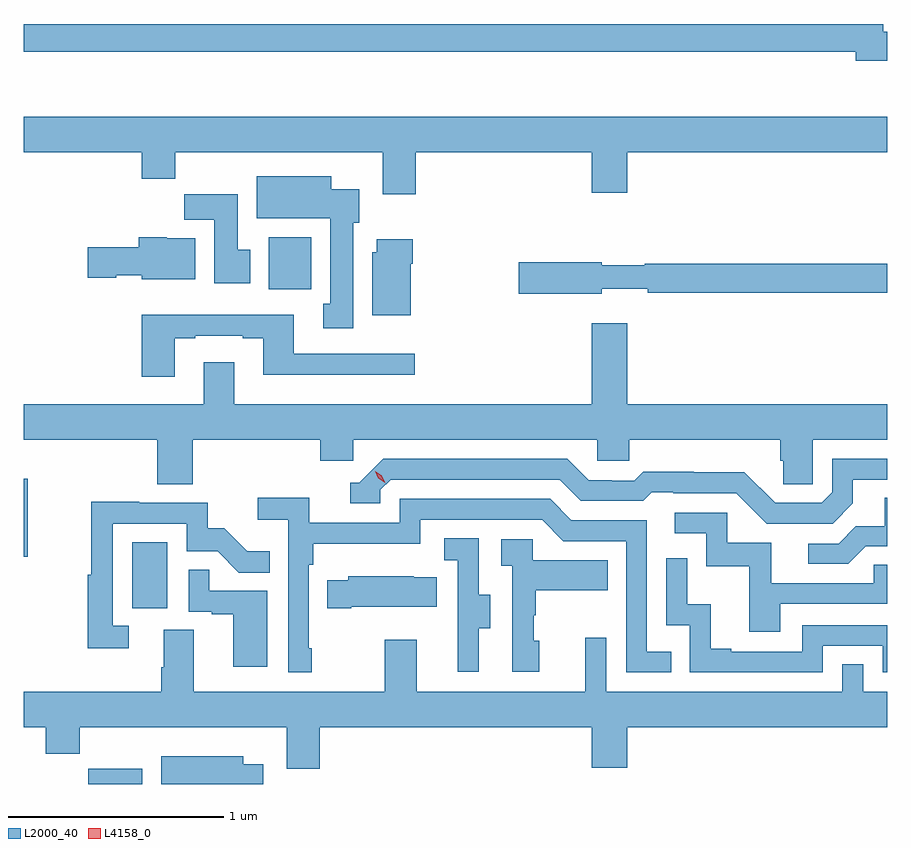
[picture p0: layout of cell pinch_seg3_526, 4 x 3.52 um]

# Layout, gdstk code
import gdstk
lib = gdstk.Library(unit=1e-6, precision=1e-09)
def R(c, l, rs):  # rectangles x0, y0, x1, y1
    for r in rs: c.add(gdstk.rectangle(r[:2], r[2:], *l))
def P(c, l, *ps):  # polygons
    for p in ps: c.add(gdstk.Polygon(p, *l))
L2000_40 = (2000, 40)
L4158_0 = (4158, 0)

pinch_seg3_526 = lib.new_cell('pinch_seg3_526')
R(pinch_seg3_526, L2000_40, [(1097.74,699.32,1097.989,699.39), (1097.942,700.134,1098.106,700.441), (1097.441,700.374,1097.458,700.735), (1098.575,701.612,1098.772,701.854)])
P(pinch_seg3_526, L2000_40, [(1101.441,702.806),(1101.424,702.806),(1101.424,702.842),(1097.441,702.842),(1097.441,702.714),(1101.296,702.714),(1101.296,702.671),(1101.441,702.671)],
  [(1099.256,702.248),(1100.072,702.248),(1100.072,702.06),(1100.236,702.06),(1100.236,702.248),(1101.441,702.248),(1101.441,702.412),(1097.441,702.412),(1097.441,702.248),(1097.987,702.248),(1097.987,702.124),(1098.143,702.124),(1098.143,702.248),(1099.103,702.248),(1099.103,702.054),(1099.256,702.054)],
  [(1098.967,701.922),(1098.994,701.922),(1098.994,702.076),(1098.865,702.076),(1098.865,702.136),(1098.521,702.136),(1098.521,701.942),(1098.86,701.942),(1098.86,701.546),(1098.827,701.546),(1098.827,701.433),(1098.967,701.433)],
  [(1098.49,701.796),(1098.433,701.796),(1098.433,702.054),(1098.184,702.054),(1098.184,701.936),(1098.323,701.936),(1098.323,701.64),(1098.49,701.64)],
  [(1098.235,701.848),(1098.102,701.848),(1098.102,701.854),(1097.972,701.854),(1097.972,701.808),(1097.736,701.808),(1097.736,701.666),(1097.868,701.666),(1097.868,701.678),(1097.988,701.678),(1097.988,701.66),(1098.235,701.66)],
  [(1099.234,701.732),(1099.242,701.732),(1099.242,701.845),(1099.076,701.845),(1099.076,701.784),(1099.055,701.784),(1099.055,701.492),(1099.234,701.492)],
  [(1100.118,701.615),(1100.332,701.615),(1100.332,701.596),(1101.441,701.596),(1101.441,701.732),(1100.318,701.732),(1100.318,701.725),(1100.118,701.725),(1100.118,701.738),(1099.734,701.738),(1099.734,701.591),(1100.118,701.591)],
  [(1098.139,701.385),(1098.235,701.385),(1098.235,701.397),(1098.455,701.397),(1098.455,701.385),(1098.551,701.385),(1098.551,701.216),(1099.252,701.216),(1099.252,701.313),(1098.691,701.313),(1098.691,701.494),(1097.987,701.494),(1097.987,701.208),(1098.139,701.208)],
  [(1098.224,700.916),(1098.815,700.916),(1098.815,700.818),(1098.966,700.818),(1098.966,700.916),(1100.097,700.916),(1100.097,700.818),(1100.247,700.818),(1100.247,700.916),(1100.945,700.916),(1100.945,700.818),(1100.959,700.818),(1100.959,700.708),(1101.096,700.708),(1101.096,700.916),(1101.441,700.916),(1101.441,701.08),(1100.236,701.08),(1100.236,701.455),(1100.072,701.455),(1100.072,701.08),(1098.415,701.08),(1098.415,701.275),(1098.275,701.275),(1098.275,701.08),(1097.441,701.08),(1097.441,700.916),(1098.059,700.916),(1098.059,700.708),(1098.224,700.708)],
  [(1101.283,700.621),(1101.283,700.731),(1101.441,700.731),(1101.441,700.827),(1101.186,700.827),(1101.186,700.671),(1101.138,700.623),(1100.922,700.623),(1100.78,700.765),(1100.544,700.765),(1100.544,700.768),(1100.311,700.768),(1100.269,700.725),(1100.166,700.725),(1100.166,700.728),(1100.059,700.728),(1099.96,700.827),(1099.107,700.827),(1098.996,700.716),(1098.953,700.716),(1098.953,700.62),(1099.092,700.62),(1099.092,700.683),(1099.14,700.731),(1099.923,700.731),(1100.022,700.632),(1100.311,700.632),(1100.35,700.671),(1100.449,700.671),(1100.449,700.668),(1100.742,700.668),(1100.883,700.527),(1101.189,700.527)],
  [(1101.343,700.422),(1101.441,700.422),(1101.441,700.646),(1101.431,700.646),(1101.431,700.514),(1101.296,700.514),(1101.216,700.434),(1101.075,700.434),(1101.075,700.341),(1101.262,700.341)],
  [(1098.775,699.949),(1098.762,699.949),(1098.762,700.337),(1098.782,700.337),(1098.782,700.433),(1099.278,700.433),(1099.278,700.545),(1099.842,700.545),(1099.941,700.446),(1100.232,700.446),(1100.232,699.837),(1100.441,699.837),(1100.441,699.933),(1100.328,699.933),(1100.328,700.542),(1099.978,700.542),(1099.879,700.641),(1099.182,700.641),(1099.182,700.53),(1098.764,700.53),(1098.764,700.646),(1098.525,700.646),(1098.525,700.544),(1098.666,700.544),(1098.666,699.837),(1098.775,699.837)],
  [(1097.926,700.053),(1097.853,700.053),(1097.853,700.527),(1098.195,700.527),(1098.195,700.398),(1098.339,700.398),(1098.437,700.3),(1098.581,700.3),(1098.581,700.399),(1098.477,700.399),(1098.37,700.506),(1098.294,700.506),(1098.294,700.623),(1097.975,700.623),(1097.975,700.628),(1097.752,700.628),(1097.752,700.29),(1097.737,700.29),(1097.737,699.948),(1097.926,699.948)],
  [(1100.947,700.155),(1101.441,700.155),(1101.441,700.335),(1101.379,700.335),(1101.379,700.251),(1100.905,700.251),(1100.905,700.437),(1100.7,700.437),(1100.7,700.578),(1100.457,700.578),(1100.457,700.482),(1100.604,700.482),(1100.604,700.329),(1100.803,700.329),(1100.803,700.026),(1100.947,700.026)],
  [(1099.549,700.042),(1099.603,700.042),(1099.603,700.197),(1099.548,700.197),(1099.548,700.46),(1099.389,700.46),(1099.389,700.357),(1099.452,700.357),(1099.452,700.053),(1099.451,700.053),(1099.451,699.84),(1099.549,699.84)],
  [(1099.828,699.984),(1099.803,699.984),(1099.803,700.103),(1099.813,700.103),(1099.813,700.217),(1100.147,700.217),(1100.147,700.357),(1099.8,700.357),(1099.8,700.455),(1099.653,700.455),(1099.653,700.331),(1099.704,700.331),(1099.704,699.84),(1099.828,699.84)],
  [(1101.144,699.96),(1101.42,699.96),(1101.42,699.837),(1101.441,699.837),(1101.441,700.056),(1101.048,700.056),(1101.048,699.933),(1100.719,699.933),(1100.719,699.946),(1100.624,699.946),(1100.624,700.154),(1100.514,700.154),(1100.514,700.366),(1100.418,700.366),(1100.418,700.056),(1100.526,700.056),(1100.526,699.837),(1101.144,699.837)],
  [(1098.568,700.215),(1098.299,700.215),(1098.299,700.313),(1098.204,700.313),(1098.204,700.119),(1098.311,700.119),(1098.311,700.107),(1098.41,700.107),(1098.41,699.864),(1098.568,699.864)],
  [(1098.958,700.142),(1099.355,700.142),(1099.355,700.279),(1099.247,700.279),(1099.247,700.282),(1098.945,700.282),(1098.945,700.264),(1098.847,700.264),(1098.847,700.135),(1098.958,700.135)],
  [(1098.812,699.584),(1100.072,699.584),(1100.072,699.396),(1100.236,699.396),(1100.236,699.584),(1101.441,699.584),(1101.441,699.748),(1101.33,699.748),(1101.33,699.875),(1101.234,699.875),(1101.234,699.748),(1100.139,699.748),(1100.139,699.997),(1100.042,699.997),(1100.042,699.748),(1099.261,699.748),(1099.261,699.988),(1099.114,699.988),(1099.114,699.748),(1098.229,699.748),(1098.229,700.034),(1098.089,700.034),(1098.089,699.86),(1098.077,699.86),(1098.077,699.748),(1097.441,699.748),(1097.441,699.584),(1097.543,699.584),(1097.543,699.46),(1097.699,699.46),(1097.699,699.584),(1098.659,699.584),(1098.659,699.39),(1098.812,699.39)],
  [(1098.55,699.412),(1098.457,699.412),(1098.457,699.448),(1098.077,699.448),(1098.077,699.32),(1098.55,699.32)])
P(pinch_seg3_526, L4158_0, [(1099.115,700.716),(1099.084,700.736),(1099.069,700.769),(1099.069,700.769),(1099.069,700.769),(1099.1,700.749),(1099.115,700.716),(1099.115,700.716)])

lib.write_gds('pinch_seg3_526.gds')
